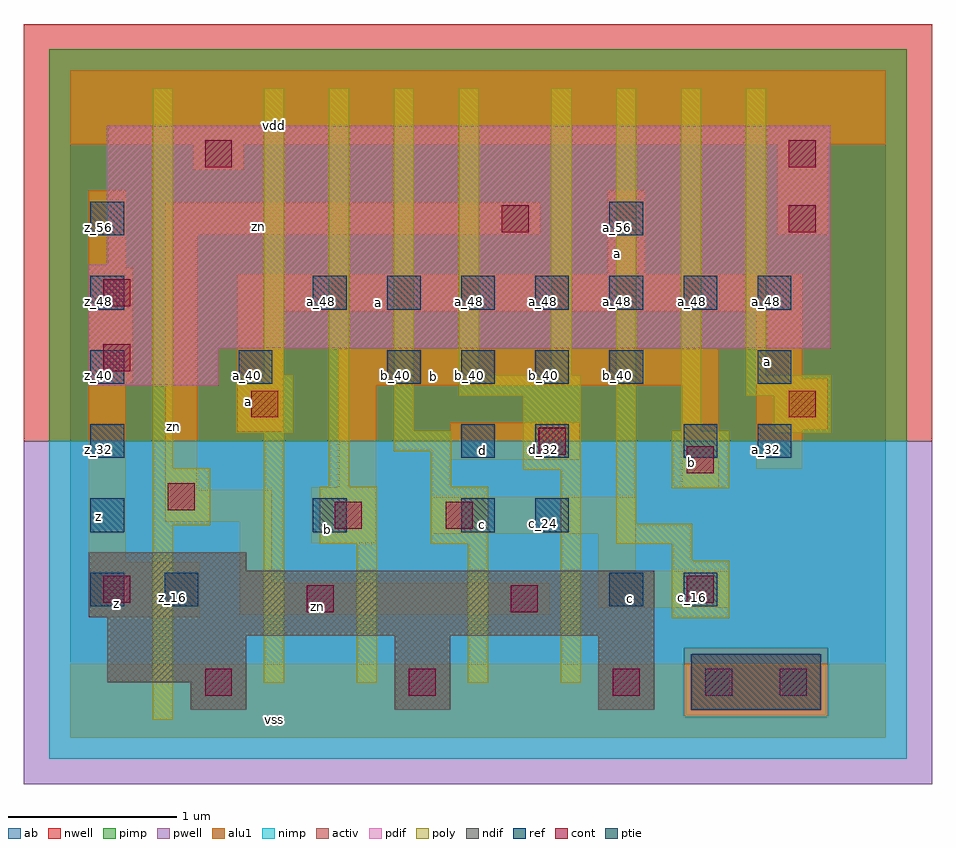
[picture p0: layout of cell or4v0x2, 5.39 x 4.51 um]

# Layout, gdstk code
import gdstk
lib = gdstk.Library(unit=1e-6, precision=2.5e-09)
def R(c, l, rs):  # rectangles x0, y0, x1, y1
    for r in rs: c.add(gdstk.rectangle(r[:2], r[2:], *l))
def A(c, l, x, y, w, h, nx, ny, dx, dy):  # array of equal rectangles
    R(c, l, [(x+i*dx, y+j*dy, x+i*dx+w, y+j*dy+h) for i in range(nx) for j in range(ny)])
ndif = (3, 0)
pdif = (4, 0)
ptie = (6, 0)
ref = (24, 0)
cont = (25, 0)
pwell = (41, 0)
nwell = (42, 0)
activ = (43, 0)
pimp = (44, 0)
nimp = (45, 0)
poly = (46, 0)
alu1 = (49, 0)
ab = (63, 0)

or4v0x2 = lib.new_cell('or4v0x2')
R(or4v0x2, ndif, [(0.715,0.165,1.045,0.33), (1.925,0.165,2.255,0.605), (3.135,0.165,3.465,0.605), (0.22,0.33,1.045,0.605), (0.22,0.605,3.465,0.715), (0.11,0.715,3.465,0.99), (0.11,0.99,1.045,1.1)])
R(or4v0x2, pdif, [(0.11,2.09,0.88,2.31), (0.11,2.31,4.51,2.805), (0.22,2.805,4.51,3.63)])
R(or4v0x2, ptie, [(3.685,0.165,4.455,0.495)])
A(or4v0x2, ref, 0.12, 0.78, 0.2, 0.2, 1, 3, 0, 0.44)
A(or4v0x2, ref, 0.12, 2.1, 0.2, 0.2, 3, 1, 0.88, 0)
A(or4v0x2, ref, 2.32, 2.1, 0.2, 0.2, 3, 1, 0.44, 0)
A(or4v0x2, ref, 1.44, 2.54, 0.2, 0.2, 7, 1, 0.44, 0)
R(or4v0x2, ref, [(0.56,0.78,0.76,0.98), (3.2,0.78,3.4,0.98), (3.64,0.78,3.84,0.98), (1.44,1.22,1.64,1.42), (2.32,1.22,2.52,1.42), (2.76,1.22,2.96,1.42), (2.32,1.66,2.52,1.86), (2.76,1.66,2.96,1.86), (3.64,1.66,3.84,1.86), (4.08,1.66,4.28,1.86), (4.08,2.1,4.28,2.3), (0.12,2.54,0.32,2.74), (0.12,2.98,0.32,3.18), (3.2,2.98,3.4,3.18)])
A(or4v0x2, cont, 0.8, 0.25, 0.16, 0.16, 3, 1, 1.21, 0)
R(or4v0x2, cont, [(3.77,0.25,3.93,0.41), (4.21,0.25,4.37,0.41), (1.405,0.745,1.565,0.905), (2.615,0.745,2.775,0.905), (0.195,0.8,0.355,0.96), (3.66,0.8,3.82,0.96), (1.57,1.24,1.73,1.4), (2.23,1.24,2.39,1.4), (0.58,1.35,0.74,1.51), (3.66,1.57,3.82,1.73), (2.78,1.68,2.94,1.84), (1.075,1.9,1.235,2.06), (4.265,1.9,4.425,2.06), (0.195,2.175,0.355,2.335), (0.195,2.56,0.355,2.72), (2.56,3,2.72,3.16), (4.265,3,4.425,3.16), (0.8,3.385,0.96,3.545), (4.265,3.385,4.425,3.545)])
R(or4v0x2, pwell, [(-0.275,-0.275,5.115,1.76)])
R(or4v0x2, nwell, [(-0.275,1.76,5.115,4.235)])
R(or4v0x2, activ, [(0.715,0.165,1.045,0.33), (1.925,0.165,2.255,0.605), (3.135,0.165,3.465,0.605), (3.685,0.165,4.455,0.495), (0.22,0.33,1.045,0.605), (0.22,0.605,3.465,0.715), (0.11,0.715,3.465,0.99), (0.11,0.99,1.045,1.1), (0.11,2.09,0.88,2.31), (0.11,2.31,4.51,2.805), (0.22,2.805,4.51,3.63)])
R(or4v0x2, pimp, [(3.645,0.125,4.495,0.535), (-0.125,1.76,4.965,4.085)])
R(or4v0x2, nimp, [(-0.125,-0.125,4.965,0.125), (-0.125,0.125,3.645,0.535), (4.495,0.125,4.965,0.535), (-0.125,0.535,4.965,1.76)])
R(or4v0x2, poly, [(0.49,0.105,0.61,1.26), (1.15,0.325,1.27,1.81), (1.7,0.325,1.82,1.15), (2.36,0.325,2.48,1.15), (2.91,0.325,3.03,1.59), (3.57,0.71,3.91,1.05), (3.57,1.05,3.69,1.15), (1.48,1.15,1.82,1.49), (2.14,1.15,2.48,1.49), (3.24,1.15,3.69,1.27), (0.49,1.26,0.83,1.6), (3.24,1.27,3.36,3.855), (3.57,1.48,3.91,1.82), (1.535,1.49,1.655,3.855), (2.14,1.49,2.26,1.7), (2.69,1.59,3.03,2.03), (0.49,1.6,0.61,3.855), (1.92,1.7,2.26,1.82), (0.985,1.81,1.325,2.15), (4.175,1.81,4.515,2.03), (1.92,1.82,2.04,3.855), (3.625,1.82,3.745,3.855), (2.305,2.03,3.03,2.15), (4.01,2.03,4.515,2.15), (1.15,2.15,1.27,3.855), (2.305,2.15,2.425,3.855), (2.855,2.15,2.975,3.855), (4.01,2.15,4.13,3.855)])
R(or4v0x2, alu1, [(0,0,4.84,0.44), (0.11,0.715,0.77,1.045), (1.005,0.73,2.845,0.92), (3.135,0.77,3.905,0.99), (1.005,0.92,1.195,1.28), (3.135,0.99,3.355,1.21), (0.11,1.045,0.33,2.105), (1.43,1.155,1.815,1.485), (2.145,1.21,3.355,1.43), (0.565,1.28,1.195,1.47), (0.565,1.47,0.755,2.985), (1.595,1.485,1.815,2.09), (3.63,1.485,3.85,2.09), (4.07,1.595,4.345,1.83), (2.255,1.65,3.025,1.87), (0.99,1.815,1.265,2.53), (4.07,1.83,4.495,2.13), (1.595,2.09,3.85,2.31), (0.11,2.105,0.37,2.79), (4.07,2.13,4.345,2.53), (0.99,2.53,4.345,2.75), (3.19,2.75,3.41,3.245), (0.11,2.79,0.33,3.245), (0.565,2.985,2.79,3.175), (4.195,2.985,4.495,3.52), (0.73,3.37,1.03,3.52), (0,3.52,4.84,3.96)])
R(or4v0x2, ab, [(0,0,4.84,3.96)])
or4v0x2.add(gdstk.Label('vss', (1.21,0.11), layer=49, texttype=0))
or4v0x2.add(gdstk.Label('c', (3.3275,0.825), layer=49, texttype=0))
or4v0x2.add(gdstk.Label('zn', (1.465,0.7775), layer=49, texttype=0))
or4v0x2.add(gdstk.Label('c', (2.4475,1.265), layer=49, texttype=0))
or4v0x2.add(gdstk.Label('b', (1.525,1.2375), layer=49, texttype=0))
or4v0x2.add(gdstk.Label('z', (0.275,0.7975), layer=49, texttype=0))
or4v0x2.add(gdstk.Label('a', (4.1375,2.23), layer=49, texttype=0))
or4v0x2.add(gdstk.Label('b', (3.685,1.635), layer=49, texttype=0))
or4v0x2.add(gdstk.Label('d', (2.4475,1.705), layer=49, texttype=0))
or4v0x2.add(gdstk.Label('b', (2.1575,2.145), layer=49, texttype=0))
or4v0x2.add(gdstk.Label('a', (1.0575,1.9925), layer=49, texttype=0))
or4v0x2.add(gdstk.Label('a', (1.8275,2.585), layer=49, texttype=0))
or4v0x2.add(gdstk.Label('a', (3.245,2.8725), layer=49, texttype=0))
or4v0x2.add(gdstk.Label('zn', (0.6125,1.8475), layer=49, texttype=0))
or4v0x2.add(gdstk.Label('z', (0.165,1.31), layer=49, texttype=0))
or4v0x2.add(gdstk.Label('zn', (1.12,3.0325), layer=49, texttype=0))
or4v0x2.add(gdstk.Label('vdd', (1.21,3.63), layer=49, texttype=0))
or4v0x2.add(gdstk.Label('z_16', (0.61,0.83), layer=24, texttype=0))
or4v0x2.add(gdstk.Label('a_40', (1.05,2.15), layer=24, texttype=0))
or4v0x2.add(gdstk.Label('b_24', (1.49,1.27), layer=24, texttype=0))
or4v0x2.add(gdstk.Label('a_48', (1.49,2.59), layer=24, texttype=0))
or4v0x2.add(gdstk.Label('b_40', (1.93,2.15), layer=24, texttype=0))
or4v0x2.add(gdstk.Label('a_48', (1.93,2.59), layer=24, texttype=0))
or4v0x2.add(gdstk.Label('z_16', (0.17,0.83), layer=24, texttype=0))
or4v0x2.add(gdstk.Label('z_24', (0.17,1.27), layer=24, texttype=0))
or4v0x2.add(gdstk.Label('z_32', (0.17,1.71), layer=24, texttype=0))
or4v0x2.add(gdstk.Label('z_40', (0.17,2.15), layer=24, texttype=0))
or4v0x2.add(gdstk.Label('z_48', (0.17,2.59), layer=24, texttype=0))
or4v0x2.add(gdstk.Label('z_56', (0.17,3.03), layer=24, texttype=0))
or4v0x2.add(gdstk.Label('c_24', (2.37,1.27), layer=24, texttype=0))
or4v0x2.add(gdstk.Label('d_32', (2.37,1.71), layer=24, texttype=0))
or4v0x2.add(gdstk.Label('b_40', (2.37,2.15), layer=24, texttype=0))
or4v0x2.add(gdstk.Label('a_48', (2.37,2.59), layer=24, texttype=0))
or4v0x2.add(gdstk.Label('c_24', (2.81,1.27), layer=24, texttype=0))
or4v0x2.add(gdstk.Label('d_32', (2.81,1.71), layer=24, texttype=0))
or4v0x2.add(gdstk.Label('b_40', (2.81,2.15), layer=24, texttype=0))
or4v0x2.add(gdstk.Label('a_48', (2.81,2.59), layer=24, texttype=0))
or4v0x2.add(gdstk.Label('c_16', (3.25,0.83), layer=24, texttype=0))
or4v0x2.add(gdstk.Label('b_40', (3.25,2.15), layer=24, texttype=0))
or4v0x2.add(gdstk.Label('a_48', (3.25,2.59), layer=24, texttype=0))
or4v0x2.add(gdstk.Label('a_56', (3.25,3.03), layer=24, texttype=0))
or4v0x2.add(gdstk.Label('c_16', (3.69,0.83), layer=24, texttype=0))
or4v0x2.add(gdstk.Label('b_32', (3.69,1.71), layer=24, texttype=0))
or4v0x2.add(gdstk.Label('a_48', (3.69,2.59), layer=24, texttype=0))
or4v0x2.add(gdstk.Label('a_32', (4.13,1.71), layer=24, texttype=0))
or4v0x2.add(gdstk.Label('a_40', (4.13,2.15), layer=24, texttype=0))
or4v0x2.add(gdstk.Label('a_48', (4.13,2.59), layer=24, texttype=0))

lib.write_gds('or4v0x2.gds')
